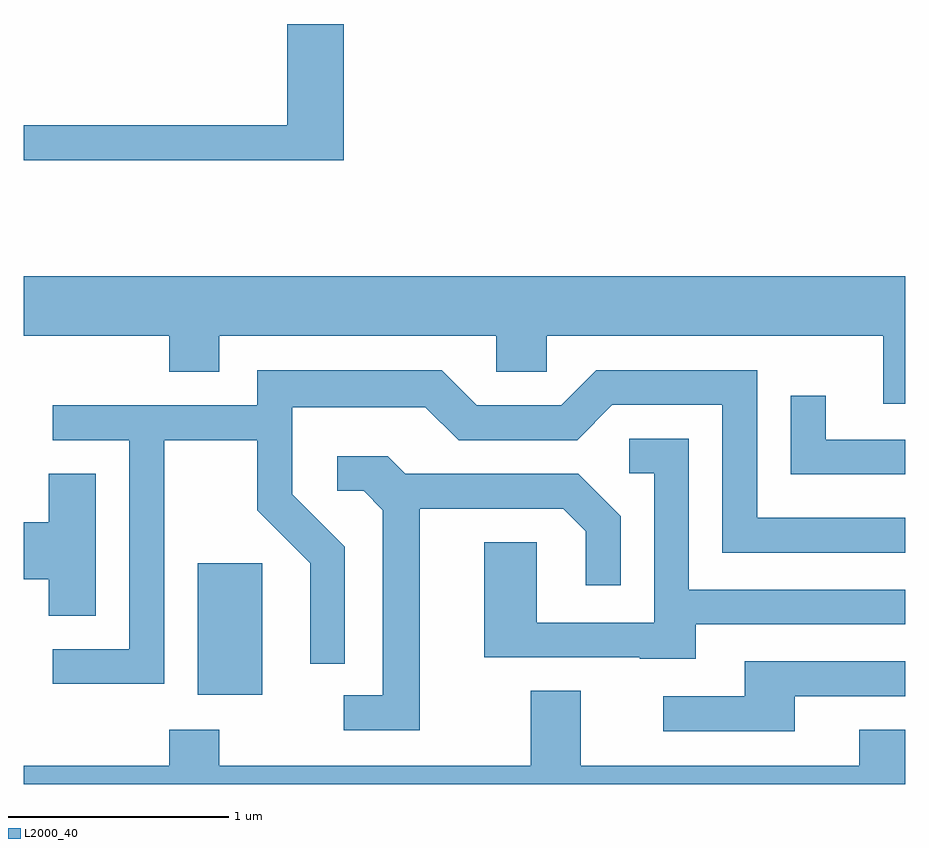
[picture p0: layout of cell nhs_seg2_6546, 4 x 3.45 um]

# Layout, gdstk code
import gdstk
lib = gdstk.Library(unit=1e-6, precision=1e-09)
def R(c, l, rs):  # rectangles x0, y0, x1, y1
    for r in rs: c.add(gdstk.rectangle(r[:2], r[2:], *l))
def P(c, l, *ps):  # polygons
    for p in ps: c.add(gdstk.Polygon(p, *l))
L2000_40 = (2000, 40)

nhs_seg2_6546 = lib.new_cell('nhs_seg2_6546')
R(nhs_seg2_6546, L2000_40, [(378.401,1082.206,378.694,1082.804)])
P(nhs_seg2_6546, L2000_40, [(379.064,1085.249),(378.806,1085.249),(378.806,1084.789),(377.611,1084.789),(377.611,1084.631),(379.064,1084.631)],
  [(381.611,1084.104),(377.611,1084.104),(377.611,1083.836),(378.271,1083.836),(378.271,1083.671),(378.499,1083.671),(378.499,1083.836),(379.756,1083.836),(379.756,1083.671),(379.984,1083.671),(379.984,1083.836),(381.511,1083.836),(381.511,1083.526),(381.611,1083.526)],
  [(378.249,1083.361),(378.671,1083.361),(378.671,1083.044),(378.911,1082.804),(378.911,1082.348),(379.069,1082.348),(379.069,1082.877),(378.829,1083.117),(378.829,1083.511),(379.434,1083.511),(379.584,1083.361),(380.122,1083.361),(380.282,1083.521),(380.781,1083.521),(380.781,1082.851),(381.611,1082.851),(381.611,1083.009),(380.939,1083.009),(380.939,1083.679),(380.209,1083.679),(380.049,1083.519),(379.667,1083.519),(379.507,1083.679),(378.671,1083.679),(378.671,1083.519),(377.743,1083.519),(377.743,1083.361),(378.091,1083.361),(378.091,1082.414),(377.743,1082.414),(377.743,1082.256),(378.249,1082.256)],
  [(381.611,1083.364),(381.249,1083.364),(381.249,1083.563),(381.091,1083.563),(381.091,1083.206),(381.611,1083.206)],
  [(380.659,1082.526),(381.611,1082.526),(381.611,1082.684),(380.629,1082.684),(380.629,1083.369),(380.358,1083.369),(380.358,1083.211),(380.471,1083.211),(380.471,1082.534),(379.939,1082.534),(379.939,1082.899),(379.701,1082.899),(379.701,1082.376),(380.405,1082.376),(380.405,1082.371),(380.659,1082.371)],
  [(379.409,1083.051),(380.059,1083.051),(380.161,1082.949),(380.161,1082.703),(380.319,1082.703),(380.319,1083.017),(380.127,1083.209),(379.342,1083.209),(379.262,1083.289),(379.033,1083.289),(379.033,1083.131),(379.154,1083.131),(379.241,1083.044),(379.241,1082.204),(379.063,1082.204),(379.063,1082.046),(379.409,1082.046)],
  [(377.939,1083.209),(377.726,1083.209),(377.726,1082.989),(377.611,1082.989),(377.611,1082.731),(377.726,1082.731),(377.726,1082.566),(377.939,1082.566)],
  [(381.109,1082.201),(381.611,1082.201),(381.611,1082.359),(380.881,1082.359),(380.881,1082.199),(380.513,1082.199),(380.513,1082.041),(381.109,1082.041)],
  [(381.611,1082.049),(381.401,1082.049),(381.401,1081.884),(380.139,1081.884),(380.139,1082.224),(379.911,1082.224),(379.911,1081.884),(378.499,1081.884),(378.499,1082.049),(378.271,1082.049),(378.271,1081.884),(377.611,1081.884),(377.611,1081.802),(381.611,1081.802)])

lib.write_gds('nhs_seg2_6546.gds')
